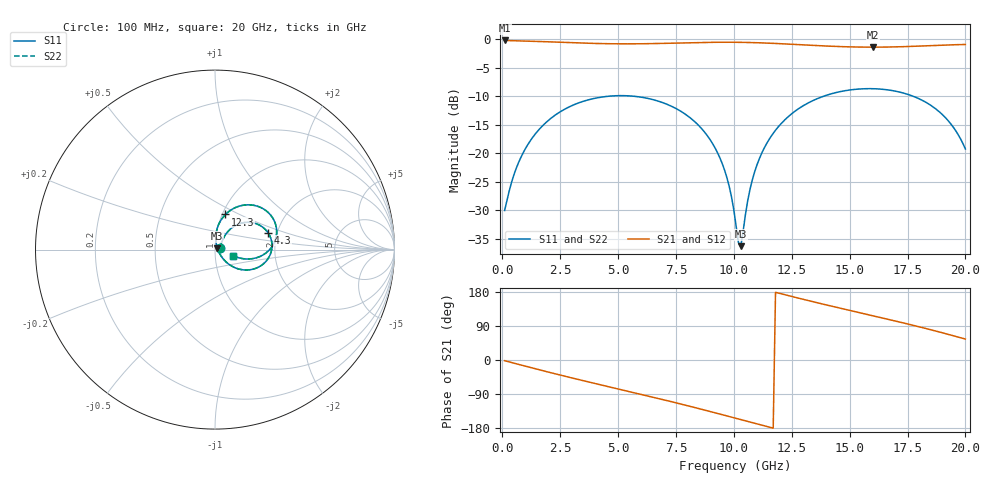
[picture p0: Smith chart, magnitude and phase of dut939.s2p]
! Touchstone file exported from HFSS 2026.1.0
!  File:  C:/ffzhzh/LocalFiles/Ansys_Project_Files/temp_train_TSV_RDL_939_1783281536_38820.aedt
!  Generated:  04:06:59 AM Jul  6, 2026
!  Design:  TSV_RDL
!  Project:  temp_train_TSV_RDL_939_1783281536_38820
! Variables:
!  h_bsmrdl = 4.55um
!  h_ox = 20um
!  h_rdl = 5um
!  h_sub = 55.47um
!  h_tmrdl = 3.78um
!  h_tsv = 55.47um
!  h_via = 3um
!  l_bsmrdl = 386.89um
!  l_sub = 4924.84um
!  l_tmrdl = 814.38um
!  m_sub = 200um
!  pitch = 29.75um
!  r_tsv = 11.95um
!  s_tmrdl = 10um
!  w_bsmrdl = 23.23um
!  w_sub = 500um
!  w_tmrdl = 12.32um
!  x_tsv_center1 = 820.54um
!  x_tsv_center2 = 1230.66um
!  x_tsv_center3 = 2057.36um
!  x_tsv_center4 = 2467.48um
!  x_tsv_center5 = 3294.18um
!  x_tsv_center6 = 3704.3um
# GHz S MA R 50.000000
! Terminal data exported
! Port[1] = TM_RDL1_1_T1
! Port[2] = TM_RDL5_1_T1
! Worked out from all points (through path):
!   200 points, 100 MHz to 20 GHz, reference 50 ohm
!   highest |S21| = -0.26 dB at 100 MHz (marker M1); lowest = -1.4 dB at 16 GHz (marker M2)
!   group delay of S21, straight-line fit = 42.1 ps
!   lowest |S11| = -36.3 dB at 10.3 GHz (marker M3), VSWR 1.03, Z = 51.3 + j0.828 ohm
!   |S11| at or under -10 dB: start of sweep to 4.682 GHz; 5.583 GHz to 13.9 GHz (8.316 GHz wide, 85.4 % of centre); 17.72 GHz to end of sweep
!   |S22| runs from -36.2 to -8.7 dB; largest |S21 - S12| = 1.6e-14
!   S11 on the Smith chart (normalised r, x): 100 MHz: 1.06, +0.02; 4.3 GHz: 1.79, +0.37; 12.3 GHz: 1.04, +0.42; 20 GHz: 1.23, -0.09
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0.1  0.03142 21.1  0.971 -1.7  0.971 -1.7  0.03142 21.1
! Gamma 0 0 0 0
! Port Impedance 50 0 50 0
0.6  0.07335 52.7  0.9641 -9.9  0.9641 -9.9  0.07335 52.7
1.3  0.1362 53.7  0.9554 -21.1  0.9554 -21.1  0.1362 53.7
2.3  0.2164 43.7  0.9394 -36.7  0.9394 -36.7  0.2164 43.7
3.5  0.2844 28.3  0.9202 -54.7  0.9202 -54.7  0.2844 28.3
4.3  0.3099 17.7  0.9113 -66.3  0.9113 -66.3  0.3099 17.7
6.8  0.2826 -16.0  0.9139 -102.4  0.9139 -102.4  0.2826 -16.0
8.1  0.2049 -33.7  0.9274 -122.1  0.9274 -122.1  0.2049 -33.7
9.1  0.1195 -45.9  0.9355 -137.9  0.9355 -137.9  0.1194 -45.9
9.7  0.06096 -48.3  0.9369 -147.6  0.9369 -147.6  0.06096 -48.2
10.1  0.02297 -28.3  0.9359 -154.0  0.9359 -154.0  0.02303 -28.1
10.2  0.01642 -5.3  0.9354 -155.7  0.9354 -155.7  0.01651 -5.1
10.3  0.01529 31.9  0.9348 -157.3  0.9348 -157.3  0.0154 31.8
10.6  0.03839 80.8  0.9323 -162.2  0.9323 -162.2  0.03845 80.7
11  0.07893 86.5  0.9276 -168.6  0.9276 -168.6  0.07897 86.4
11.6  0.1393 82.0  0.9179 -178.3  0.9179 -178.3  0.1394 82.0
12.3  0.2043 73.4  0.9036 170.7  0.9036 170.7  0.2043 73.4
13.4  0.2876 58.7  0.8793 154.1  0.8793 154.1  0.2876 58.7
16  0.3668 24.7  0.8481 116.8  0.8481 116.8  0.3668 24.7
16.7  0.3569 15.7  0.8506 106.9  0.8506 106.9  0.3569 15.7
18.7  0.2459 -9.8  0.8781 76.8  0.8781 76.8  0.2458 -9.8
20  0.1087 -18.5  0.8952 55.2  0.8952 55.2  0.1086 -18.5
